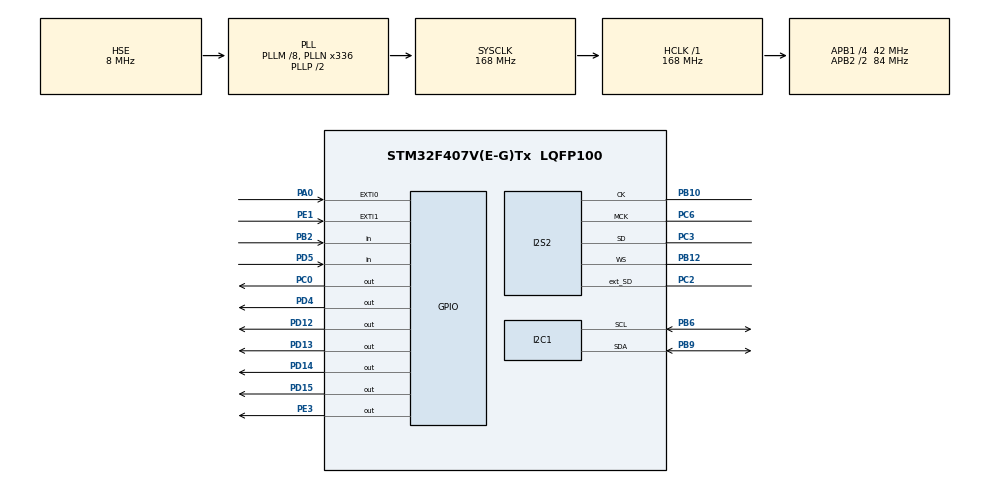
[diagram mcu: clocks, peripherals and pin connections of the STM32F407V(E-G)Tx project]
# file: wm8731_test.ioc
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Mcu.Family=STM32F4
PA11.GPIO_Speed=GPIO_SPEED_FREQ_VERY_HIGH
PC3.Mode=Full_Duplex_Master
PC3.GPIO_Mode=GPIO_MODE_AF_PP
PH0-OSC_IN.Signal=RCC_OSC_IN
RCC.CortexFreq_Value=168000000
PD14.GPIO_ModeDefaultOutputPP=GPIO_MODE_OUTPUT_PP
PC10.GPIO_PuPd=GPIO_NOPULL
PB10.GPIO_Speed=GPIO_SPEED_FREQ_LOW
PB6.GPIO_Mode=GPIO_MODE_AF_OD
PB10.GPIO_PuPd=GPIO_NOPULL
PB10.Mode=Full_Duplex_Master
PA10.GPIO_PuPd=GPIO_NOPULL
PD15.GPIO_Speed=GPIO_SPEED_FREQ_LOW
PC10.Signal=I2S3_CK
PC12.Signal=I2S3_SD
PA7.GPIO_Mode=GPIO_MODE_AF_PP
Dma.SPI2_TX.1.PeriphInc=DMA_PINC_DISABLE
PC0.GPIO_ModeDefaultOutputPP=GPIO_MODE_OUTPUT_PP
PC10.GPIO_Speed=GPIO_SPEED_FREQ_LOW
PA11.GPIO_PuPd=GPIO_NOPULL
NVIC.DMA1_Stream4_IRQn=true\:0\:0\:false\:false\:true\:false\:true
PC3.GPIO_Speed=GPIO_SPEED_FREQ_LOW
RCC.SYSCLKSource=RCC_SYSCLKSOURCE_PLLCLK
ProjectManager.StackSize=0x400
PA6.GPIO_Mode=GPIO_MODE_AF_PP
PD13.Signal=GPIO_Output
PD14.GPIO_Speed=GPIO_SPEED_FREQ_LOW
PA12.Signal=USB_OTG_FS_DP
Dma.I2S2_EXT_RX.0.Mode=DMA_CIRCULAR
RCC.HCLKFreq_Value=168000000
PD4.Signal=GPIO_Output
RCC.APB2TimFreq_Value=168000000
PB6.Signal=I2C1_SCL
Dma.I2S2_EXT_RX.0.PeriphInc=DMA_PINC_DISABLE
PC7.Signal=I2S3_MCK
PB6.Mode=I2C
PC3.Signal=I2S2_SD
PE1.Signal=GPXTI1
RCC.AHBFreq_Value=168000000
PH0-OSC_IN.Mode=HSE-External-Oscillator
PE3.PinState=GPIO_PIN_RESET
PA9.GPIO_Mode=GPIO_MODE_INPUT
RCC.HSE_VALUE=8000000
PA4.GPIO_PuPd=GPIO_NOPULL
PB2.Signal=GPIO_Input
PD15.PinState=GPIO_PIN_RESET
PA4.GPIO_Speed=GPIO_SPEED_FREQ_LOW
PA6.GPIO_PuPd=GPIO_NOPULL
PC14-OSC32_IN.Mode=LSE-External-Oscillator
Dma.I2S2_EXT_RX.0.FIFOMode=DMA_FIFOMODE_DISABLE
PA14.Mode=Serial_Wire
PA5.GPIO_PuPd=GPIO_NOPULL
PC7.GPIO_Mode=GPIO_MODE_AF_PP
PD5.GPIO_Mode=GPIO_MODE_INPUT
PD12.GPIO_ModeDefaultOutputPP=GPIO_MODE_OUTPUT_PP
PD4.GPIO_ModeDefaultOutputPP=GPIO_MODE_OUTPUT_PP
PD14.GPIO_PuPd=GPIO_NOPULL
I2S2.DataFormat=I2S_DATAFORMAT_24B
Dma.I2S2_EXT_RX.0.PeriphDataAlignment=DMA_PDATAALIGN_HALFWORD
PB6.GPIO_PuPdOD=GPIO_PULLUP
PB2.GPIO_PuPd=GPIO_NOPULL
Dma.SPI2_TX.1.FIFOMode=DMA_FIFOMODE_DISABLE
PH1-OSC_OUT.Mode=HSE-External-Oscillator
Mcu.Package=LQFP100
PB9.Signal=I2C1_SDA
PA6.Signal=SPI1_MISO
PB12.Mode=Full_Duplex_Master
Dma.I2S2_EXT_RX.0.MemDataAlignment=DMA_MDATAALIGN_HALFWORD
Dma.SPI2_TX.1.Mode=DMA_CIRCULAR
PD12.Signal=GPIO_Output
PD15.GPIO_PuPd=GPIO_NOPULL
PA10.Signal=USB_OTG_FS_ID
PB9.GPIO_PuPd=GPIO_NOPULL
Dma.SPI2_TX.1.Instance=DMA1_Stream4
PA10.GPIO_Speed=GPIO_SPEED_FREQ_VERY_HIGH
RCC.APB2CLKDivider=RCC_HCLK_DIV2
PB9.GPIO_Speed=GPIO_SPEED_FREQ_VERY_HIGH
Dma.Request1=SPI2_TX
RCC.APB1TimFreq_Value=84000000
PC12.GPIO_PuPd=GPIO_NOPULL
PA6.GPIO_Speed=GPIO_SPEED_FREQ_VERY_HIGH
PC0.GPIO_PuPd=GPIO_NOPULL
PA12.GPIO_PuPd=GPIO_NOPULL
Dma.Request0=I2S2_EXT_RX
Dma.I2S2_EXT_RX.0.Instance=DMA1_Stream3
PD15.Signal=GPIO_Output
PC0.PinState=GPIO_PIN_RESET
PA12.GPIO_Speed=GPIO_SPEED_FREQ_VERY_HIGH
PD12.PinState=GPIO_PIN_RESET
RCC.PLLSourceVirtual=RCC_PLLSOURCE_HSE
PC15-OSC32_OUT.Mode=LSE-External-Oscillator
Dma.SPI2_TX.1.MemInc=DMA_MINC_ENABLE
I2S2.AudioFreq=I2S_AUDIOFREQ_96K
PD12.GPIO_Speed=GPIO_SPEED_FREQ_LOW
I2S2.Instance=SPI$Index
PB6.GPIO_PuPd=GPIO_NOPULL
PC2.Signal=I2S2_ext_SD
PC6.Signal=I2S2_MCK
PC2.Mode=Full_Duplex_Master
PE1.GPIO_PuPd=GPIO_NOPULL
PD5.Signal=GPIO_Input
PC0.Signal=GPIO_Output
PE1.GPIO_ModeDefaultEXTI=GPIO_MODE_IT_RISING
RCC.APB1CLKDivider=RCC_HCLK_DIV4
PC14-OSC32_IN.Signal=RCC_OSC32_IN
PA9.GPIO_PuPd=GPIO_NOPULL
PA0-WKUP.GPIO_ModeDefaultEXTI=GPIO_MODE_IT_RISING
PA0-WKUP.Signal=GPXTI0
PA10.GPIO_Mode=GPIO_MODE_AF_PP
PA13.Signal=SYS_JTMS-SWDIO
PD4.PinState=GPIO_PIN_RESET
PC10.GPIO_Mode=GPIO_MODE_AF_PP
PD4.GPIO_PuPd=GPIO_NOPULL
PC0.GPIO_Speed=GPIO_SPEED_FREQ_LOW
PB10.GPIO_Mode=GPIO_MODE_AF_PP
ProjectManager.TargetToolchain=STM32CubeIDE
PC6.Mode=Master_Clock_Activated
PB9.Mode=I2C
PA9.Signal=USB_OTG_FS_VBUS
I2S2.VirtualMode=I2S_MODE_MASTER
PC7.GPIO_PuPd=GPIO_NOPULL
PC15-OSC32_OUT.Signal=RCC_OSC32_OUT
PA7.GPIO_PuPd=GPIO_NOPULL
PB10.Signal=I2S2_CK
Dma.I2S2_EXT_RX.0.Priority=DMA_PRIORITY_HIGH
PA5.Signal=SPI1_SCK
PD14.PinState=GPIO_PIN_RESET
Dma.I2S2_EXT_RX.0.MemInc=DMA_MINC_ENABLE
board=STM32F4DISCOVERY
PD13.GPIO_Speed=GPIO_SPEED_FREQ_LOW
PC7.GPIO_Speed=GPIO_SPEED_FREQ_LOW
Dma.SPI2_TX.1.Direction=DMA_MEMORY_TO_PERIPH
RCC.VCOOutputFreq_Value=336000000
PA7.GPIO_Speed=GPIO_SPEED_FREQ_VERY_HIGH
Dma.I2S2_EXT_RX.0.Direction=DMA_PERIPH_TO_MEMORY
PB9.GPIO_Mode=GPIO_MODE_AF_OD
PA12.GPIO_Mode=GPIO_MODE_AF_PP
PA4.GPIO_Mode=GPIO_MODE_AF_PP
RCC.APB2Freq_Value=84000000
PB2.GPIO_Mode=GPIO_MODE_INPUT
Dma.SPI2_TX.1.PeriphDataAlignment=DMA_PDATAALIGN_HALFWORD
Dma.SPI2_TX.1.Priority=DMA_PRIORITY_HIGH
PD4.GPIO_Speed=GPIO_SPEED_FREQ_LOW
PE3.GPIO_PuPd=GPIO_NOPULL
PH1-OSC_OUT.Signal=RCC_OSC_OUT
PD13.GPIO_PuPd=GPIO_NOPULL
PD5.GPIO_PuPd=GPIO_NOPULL
PA13.Mode=Serial_Wire
Mcu.Name=STM32F407V(E-G)Tx
I2S2.FullDuplexMode=I2S_FULLDUPLEXMODE_ENABLE
PD14.Signal=GPIO_Output
RCC.48MHZClocksFreq_Value=48000000
PB3.Signal=SYS_JTDO-SWO
PA4.Signal=I2S3_WS
RCC.SYSCLKFreq_VALUE=168000000
PC12.GPIO_Mode=GPIO_MODE_AF_PP
I2S2.ErrorAudioFreq=-2.34 %
PE3.GPIO_Speed=GPIO_SPEED_FREQ_LOW
PE3.GPIO_ModeDefaultOutputPP=GPIO_MODE_OUTPUT_PP
PD15.GPIO_ModeDefaultOutputPP=GPIO_MODE_OUTPUT_PP
PD13.GPIO_ModeDefaultOutputPP=GPIO_MODE_OUTPUT_PP
PA11.Signal=USB_OTG_FS_DM
PA14.Signal=SYS_JTCK-SWCLK
ProjectManager.HeapSize=0x200
PB9.GPIO_PuPdOD=GPIO_PULLUP
RCC.HSI_VALUE=16000000
PA5.GPIO_Speed=GPIO_SPEED_FREQ_VERY_HIGH
RCC.PLLQ=7
NVIC.PriorityGroup=NVIC_PRIORITYGROUP_0
RCC.PLLM=8
RCC.PLLN=336
PE3.Signal=GPIO_Output
PA0-WKUP.GPIO_PuPd=GPIO_NOPULL
NVIC.DMA1_Stream3_IRQn=true\:0\:0\:false\:false\:true\:false\:true
PD13.PinState=GPIO_PIN_RESET
PA11.GPIO_Mode=GPIO_MODE_AF_PP
PB6.GPIO_Speed=GPIO_SPEED_FREQ_VERY_HIGH
RCC.APB1Freq_Value=42000000
PA5.GPIO_Mode=GPIO_MODE_AF_PP
PC12.GPIO_Speed=GPIO_SPEED_FREQ_LOW
I2S2.RealAudioFreq=93.75 KHz
Dma.SPI2_TX.1.MemDataAlignment=DMA_MDATAALIGN_HALFWORD
PB12.Signal=I2S2_WS
PC3.GPIO_PuPd=GPIO_NOPULL
PD12.GPIO_PuPd=GPIO_NOPULL
PA7.Signal=SPI1_MOSI

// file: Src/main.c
/* USER CODE BEGIN Header */
/**
  ******************************************************************************
  * @file           : main.c
  * @brief          : Main program body
  ******************************************************************************
  * @attention
  *
  * <h2><center>&copy; Copyright (c) 2019 STMicroelectronics.
  * All rights reserved.</center></h2>
  *
  * This software component is licensed by ST under Ultimate Liberty license
  * SLA0044, the "License"; You may not use this file except in compliance with
  * the License. You may obtain a copy of the License at:
  *                             www.st.com/SLA0044
  *
  ******************************************************************************
  */
/* USER CODE END Header */
#include "main.h"

/* USER CODE BEGIN Includes */
#include "wm8731.h"
/* USER CODE END Includes */

I2C_HandleTypeDef hi2c1;

I2S_HandleTypeDef hi2s2;
DMA_HandleTypeDef hdma_i2s2_ext_rx;
DMA_HandleTypeDef hdma_spi2_tx;

/* USER CODE BEGIN PV */
uint16_t rx_buffer[I2S_BUFFER_SIZE];
uint16_t tx_buffer[I2S_BUFFER_SIZE];
/* USER CODE END PV */

void SystemClock_Config(void);
static void MX_GPIO_Init(void);
static void MX_DMA_Init(void);
static void MX_I2S2_Init(void);
static void MX_I2C1_Init(void);

int main(void)
{

  /* MCU Configuration--------------------------------------------------------*/

  /* Reset of all peripherals, Initializes the Flash interface and the Systick. */
  HAL_Init();

  /* Configure the system clock */
  SystemClock_Config();

  /* Initialize all configured peripherals */
  MX_GPIO_Init();
  MX_DMA_Init();
  MX_I2S2_Init();
  MX_I2C1_Init();
  /* USER CODE BEGIN 2 */
  WM8731_init(hi2c1);
  WM8731_inputSelect(hi2c1, AUDIO_INPUT_MIC);
  WM8731_volumeInteger(hi2c1, 110);

  /* Clear audio buffers */
  memset(tx_buffer, 0, sizeof(tx_buffer));
  memset(rx_buffer, 0, sizeof(rx_buffer));

  HAL_I2SEx_TransmitReceive_DMA(&hi2s2, tx_buffer, rx_buffer, I2S_BUFFER_SIZE/2);

  /* USER CODE END 2 */

  /* Infinite loop */
  while (1)
  {

  }
}

void SystemClock_Config(void)
{
  RCC_OscInitTypeDef RCC_OscInitStruct = {0};
  RCC_ClkInitTypeDef RCC_ClkInitStruct = {0};
  RCC_PeriphCLKInitTypeDef PeriphClkInitStruct = {0};

  /** Configure the main internal regulator output voltage
  */
  __HAL_RCC_PWR_CLK_ENABLE();
  __HAL_PWR_VOLTAGESCALING_CONFIG(PWR_REGULATOR_VOLTAGE_SCALE1);
  /** Initializes the RCC Oscillators according to the specified parameters
  * in the RCC_OscInitTypeDef structure.
  */
  RCC_OscInitStruct.OscillatorType = RCC_OSCILLATORTYPE_HSE;
  RCC_OscInitStruct.HSEState = RCC_HSE_ON;
  RCC_OscInitStruct.PLL.PLLState = RCC_PLL_ON;
  RCC_OscInitStruct.PLL.PLLSource = RCC_PLLSOURCE_HSE;
  RCC_OscInitStruct.PLL.PLLM = 8;
  RCC_OscInitStruct.PLL.PLLN = 336;
  RCC_OscInitStruct.PLL.PLLP = RCC_PLLP_DIV2;
  RCC_OscInitStruct.PLL.PLLQ = 7;
  if (HAL_RCC_OscConfig(&RCC_OscInitStruct) != HAL_OK)
  {
    Error_Handler();
  }
  /** Initializes the CPU, AHB and APB buses clocks
  */
  RCC_ClkInitStruct.ClockType = RCC_CLOCKTYPE_HCLK|RCC_CLOCKTYPE_SYSCLK
                              |RCC_CLOCKTYPE_PCLK1|RCC_CLOCKTYPE_PCLK2;
  RCC_ClkInitStruct.SYSCLKSource = RCC_SYSCLKSOURCE_PLLCLK;
  RCC_ClkInitStruct.AHBCLKDivider = RCC_SYSCLK_DIV1;
  RCC_ClkInitStruct.APB1CLKDivider = RCC_HCLK_DIV4;
  RCC_ClkInitStruct.APB2CLKDivider = RCC_HCLK_DIV2;

  if (HAL_RCC_ClockConfig(&RCC_ClkInitStruct, FLASH_LATENCY_5) != HAL_OK)
  {
    Error_Handler();
  }
  PeriphClkInitStruct.PeriphClockSelection = RCC_PERIPHCLK_I2S;
  PeriphClkInitStruct.PLLI2S.PLLI2SN = 192;
  PeriphClkInitStruct.PLLI2S.PLLI2SR = 2;
  if (HAL_RCCEx_PeriphCLKConfig(&PeriphClkInitStruct) != HAL_OK)
  {
    Error_Handler();
  }
}

static void MX_I2C1_Init(void)
{

  hi2c1.Instance = I2C1;
  hi2c1.Init.ClockSpeed = 100000;
  hi2c1.Init.DutyCycle = I2C_DUTYCYCLE_2;
  hi2c1.Init.OwnAddress1 = 0;
  hi2c1.Init.AddressingMode = I2C_ADDRESSINGMODE_7BIT;
  hi2c1.Init.DualAddressMode = I2C_DUALADDRESS_DISABLE;
  hi2c1.Init.OwnAddress2 = 0;
  hi2c1.Init.GeneralCallMode = I2C_GENERALCALL_DISABLE;
  hi2c1.Init.NoStretchMode = I2C_NOSTRETCH_DISABLE;
  if (HAL_I2C_Init(&hi2c1) != HAL_OK)
  {
    Error_Handler();
  }

}

static void MX_I2S2_Init(void)
{

  hi2s2.Instance = SPI2;
  hi2s2.Init.Mode = I2S_MODE_MASTER_TX;
  hi2s2.Init.Standard = I2S_STANDARD_PHILIPS;
  hi2s2.Init.DataFormat = I2S_DATAFORMAT_24B;
  hi2s2.Init.MCLKOutput = I2S_MCLKOUTPUT_ENABLE;
  hi2s2.Init.AudioFreq = I2S_AUDIOFREQ_96K;
  hi2s2.Init.CPOL = I2S_CPOL_LOW;
  hi2s2.Init.ClockSource = I2S_CLOCK_PLL;

  hi2s2.Init.FullDuplexMode = I2S_FULLDUPLEXMODE_ENABLE;

  if (HAL_I2S_Init(&hi2s2) != HAL_OK)
  {
    Error_Handler();
  }

}

static void MX_DMA_Init(void)
{

  /* DMA controller clock enable */
  __HAL_RCC_DMA1_CLK_ENABLE();

  /* DMA interrupt init */
  /* DMA1_Stream3_IRQn interrupt configuration */
  HAL_NVIC_SetPriority(DMA1_Stream3_IRQn, 0, 0);
  HAL_NVIC_EnableIRQ(DMA1_Stream3_IRQn);
  /* DMA1_Stream4_IRQn interrupt configuration */
  HAL_NVIC_SetPriority(DMA1_Stream4_IRQn, 0, 0);
  HAL_NVIC_EnableIRQ(DMA1_Stream4_IRQn);

}

static void MX_GPIO_Init(void)
{
  GPIO_InitTypeDef GPIO_InitStruct = {0};

  /* GPIO Ports Clock Enable */
  __HAL_RCC_GPIOE_CLK_ENABLE();
  __HAL_RCC_GPIOC_CLK_ENABLE();
  __HAL_RCC_GPIOH_CLK_ENABLE();
  __HAL_RCC_GPIOA_CLK_ENABLE();
  __HAL_RCC_GPIOB_CLK_ENABLE();
  __HAL_RCC_GPIOD_CLK_ENABLE();

  /*Configure GPIO pin Output Level */
  HAL_GPIO_WritePin(GPIOE, GPIO_PIN_3, GPIO_PIN_RESET);

  /*Configure GPIO pin Output Level */
  HAL_GPIO_WritePin(GPIOC, GPIO_PIN_0, GPIO_PIN_RESET);

  /*Configure GPIO pin Output Level */
  HAL_GPIO_WritePin(GPIOD, GPIO_PIN_12|GPIO_PIN_13|GPIO_PIN_14|GPIO_PIN_15
                          |GPIO_PIN_4, GPIO_PIN_RESET);

  /*Configure GPIO pin : PE3 */
  GPIO_InitStruct.Pin = GPIO_PIN_3;
  GPIO_InitStruct.Mode = GPIO_MODE_OUTPUT_PP;
  GPIO_InitStruct.Pull = GPIO_NOPULL;
  GPIO_InitStruct.Speed = GPIO_SPEED_FREQ_LOW;
  HAL_GPIO_Init(GPIOE, &GPIO_InitStruct);

  /*Configure GPIO pin : PC0 */
  GPIO_InitStruct.Pin = GPIO_PIN_0;
  GPIO_InitStruct.Mode = GPIO_MODE_OUTPUT_PP;
  GPIO_InitStruct.Pull = GPIO_NOPULL;
  GPIO_InitStruct.Speed = GPIO_SPEED_FREQ_LOW;
  HAL_GPIO_Init(GPIOC, &GPIO_InitStruct);

  /*Configure GPIO pin : PA0 */
  GPIO_InitStruct.Pin = GPIO_PIN_0;
  GPIO_InitStruct.Mode = GPIO_MODE_IT_RISING;
  GPIO_InitStruct.Pull = GPIO_NOPULL;
  HAL_GPIO_Init(GPIOA, &GPIO_InitStruct);

  /*Configure GPIO pin : PA4 */
  GPIO_InitStruct.Pin = GPIO_PIN_4;
  GPIO_InitStruct.Mode = GPIO_MODE_AF_PP;
  GPIO_InitStruct.Pull = GPIO_NOPULL;
  GPIO_InitStruct.Speed = GPIO_SPEED_FREQ_LOW;
  GPIO_InitStruct.Alternate = GPIO_AF6_SPI3;
  HAL_GPIO_Init(GPIOA, &GPIO_InitStruct);

  /*Configure GPIO pins : PA5 PA6 PA7 */
  GPIO_InitStruct.Pin = GPIO_PIN_5|GPIO_PIN_6|GPIO_PIN_7;
  GPIO_InitStruct.Mode = GPIO_MODE_AF_PP;
  GPIO_InitStruct.Pull = GPIO_NOPULL;
  GPIO_InitStruct.Speed = GPIO_SPEED_FREQ_VERY_HIGH;
  GPIO_InitStruct.Alternate = GPIO_AF5_SPI1;
  HAL_GPIO_Init(GPIOA, &GPIO_InitStruct);

  /*Configure GPIO pin : PB2 */
  GPIO_InitStruct.Pin = GPIO_PIN_2;
  GPIO_InitStruct.Mode = GPIO_MODE_INPUT;
  GPIO_InitStruct.Pull = GPIO_NOPULL;
  HAL_GPIO_Init(GPIOB, &GPIO_InitStruct);

  /*Configure GPIO pins : PD12 PD13 PD14 PD15
                           PD4 */
  GPIO_InitStruct.Pin = GPIO_PIN_12|GPIO_PIN_13|GPIO_PIN_14|GPIO_PIN_15
                          |GPIO_PIN_4;
  GPIO_InitStruct.Mode = GPIO_MODE_OUTPUT_PP;
  GPIO_InitStruct.Pull = GPIO_NOPULL;
  GPIO_InitStruct.Speed = GPIO_SPEED_FREQ_LOW;
  HAL_GPIO_Init(GPIOD, &GPIO_InitStruct);

  /*Configure GPIO pins : PC7 PC10 PC12 */
  GPIO_InitStruct.Pin = GPIO_PIN_7|GPIO_PIN_10|GPIO_PIN_12;
  GPIO_InitStruct.Mode = GPIO_MODE_AF_PP;
  GPIO_InitStruct.Pull = GPIO_NOPULL;
  GPIO_InitStruct.Speed = GPIO_SPEED_FREQ_LOW;
  GPIO_InitStruct.Alternate = GPIO_AF6_SPI3;
  HAL_GPIO_Init(GPIOC, &GPIO_InitStruct);

  /*Configure GPIO pin : PA9 */
  GPIO_InitStruct.Pin = GPIO_PIN_9;
  GPIO_InitStruct.Mode = GPIO_MODE_INPUT;
  GPIO_InitStruct.Pull = GPIO_NOPULL;
  HAL_GPIO_Init(GPIOA, &GPIO_InitStruct);

  /*Configure GPIO pins : PA10 PA11 PA12 */
  GPIO_InitStruct.Pin = GPIO_PIN_10|GPIO_PIN_11|GPIO_PIN_12;
  GPIO_InitStruct.Mode = GPIO_MODE_AF_PP;
  GPIO_InitStruct.Pull = GPIO_NOPULL;
  GPIO_InitStruct.Speed = GPIO_SPEED_FREQ_VERY_HIGH;
  GPIO_InitStruct.Alternate = GPIO_AF10_OTG_FS;
  HAL_GPIO_Init(GPIOA, &GPIO_InitStruct);

  /*Configure GPIO pin : PD5 */
  GPIO_InitStruct.Pin = GPIO_PIN_5;
  GPIO_InitStruct.Mode = GPIO_MODE_INPUT;
  GPIO_InitStruct.Pull = GPIO_NOPULL;
  HAL_GPIO_Init(GPIOD, &GPIO_InitStruct);

  /*Configure GPIO pin : PE1 */
  GPIO_InitStruct.Pin = GPIO_PIN_1;
  GPIO_InitStruct.Mode = GPIO_MODE_IT_RISING;
  GPIO_InitStruct.Pull = GPIO_NOPULL;
  HAL_GPIO_Init(GPIOE, &GPIO_InitStruct);

}

/* USER CODE BEGIN 4 */
void HAL_I2SEx_TxRxHalfCpltCallback(I2S_HandleTypeDef *hi2s)
{

	// Restore signed 24 bit sample from 16-bit buffers
	int left_sample = (int) (rx_buffer[0] << 16) | rx_buffer[1];
	int right_sample = (int) (rx_buffer[2] << 16) | rx_buffer[3];

	// Sum to mono
	left_sample = right_sample + left_sample;
	right_sample = left_sample;

	// Restore to buffer
	tx_buffer[0] = (left_sample >> 16) & 0xFFFF;
	tx_buffer[1] = left_sample & 0xFFFF;
	tx_buffer[2] = (right_sample >> 16) & 0xFFFF;
	tx_buffer[3] = right_sample & 0xFFFF;
}

void HAL_I2SEx_TxRxCpltCallback(I2S_HandleTypeDef *hi2s)
{

	// Restore signed 24 bit sample from 16-bit buffers
	int left_sample = (int) (rx_buffer[4] << 16) | rx_buffer[5];
	int right_sample = (int) (rx_buffer[6] << 16) | rx_buffer[7];

	// Sum to mono
	left_sample = right_sample + left_sample;
	right_sample = left_sample;

	// Restore to buffer
	tx_buffer[4] = (left_sample >> 16) & 0xFFFF;
	tx_buffer[5] = left_sample & 0xFFFF;
	tx_buffer[6] = (right_sample >> 16) & 0xFFFF;
	tx_buffer[7] = right_sample & 0xFFFF;

	HAL_GPIO_TogglePin(LD6_GPIO_Port, LD6_GPIO_Pin);
}

/* USER CODE END 4 */

void Error_Handler(void)
{
}

/************************ (C) COPYRIGHT STMicroelectronics *****END OF FILE****/
